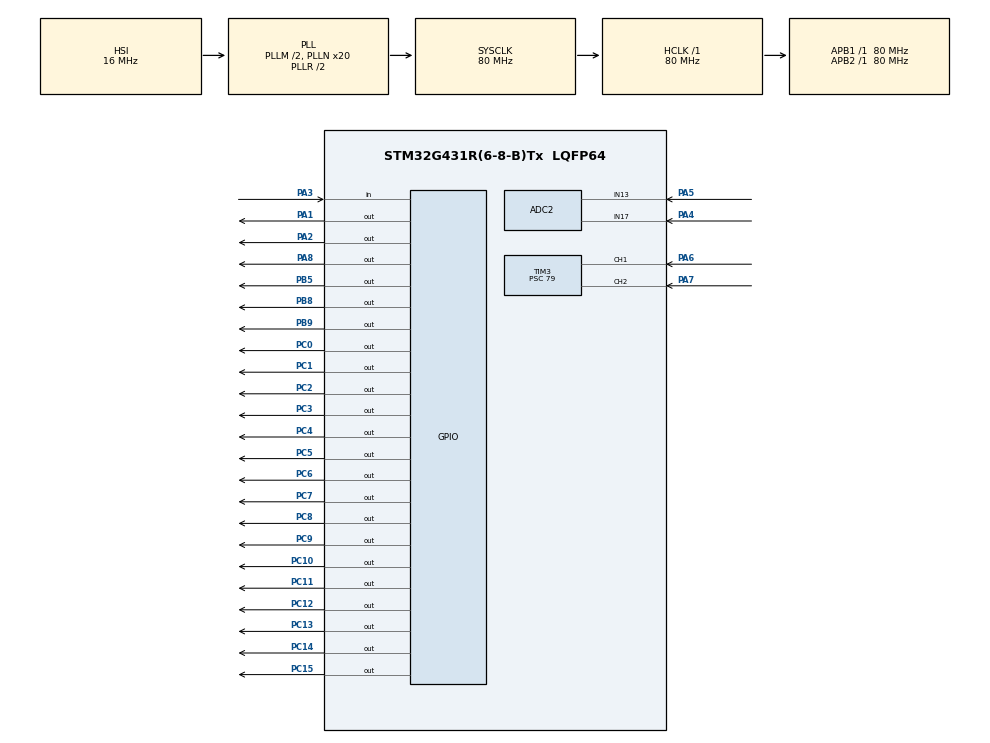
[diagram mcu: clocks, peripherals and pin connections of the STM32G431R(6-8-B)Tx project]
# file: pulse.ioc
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ADC2.Channel-0\#ChannelRegularConversion=ADC_CHANNEL_17
ADC2.Channel-1\#ChannelRegularConversion=ADC_CHANNEL_13
ADC2.NbrOfConversion=2
ADC2.NbrOfConversionFlag=1
ADC2.OffsetNumber-0\#ChannelRegularConversion=ADC_OFFSET_NONE
ADC2.OffsetNumber-1\#ChannelRegularConversion=ADC_OFFSET_NONE
ADC2.Rank-0\#ChannelRegularConversion=1
ADC2.Rank-1\#ChannelRegularConversion=2
ADC2.SamplingTime-0\#ChannelRegularConversion=ADC_SAMPLETIME_640CYCLES_5
ADC2.SamplingTime-1\#ChannelRegularConversion=ADC_SAMPLETIME_640CYCLES_5
Mcu.Family=STM32G4
Mcu.Name=STM32G431R(6-8-B)Tx
Mcu.Package=LQFP64
NVIC.PriorityGroup=NVIC_PRIORITYGROUP_4
NVIC.TIM3_IRQn=true\:0\:0\:false\:false\:true\:true\:true\:true
PA1.Signal=GPIO_Output
PA2.Signal=GPIO_Output
PA3.Signal=GPIO_Input
PA4.Mode=IN17-Single-Ended
PA4.Signal=ADC2_IN17
PA5.Mode=IN13-Single-Ended
PA5.Signal=ADC2_IN13
PA6.Signal=S_TIM3_CH1
PA7.Signal=S_TIM3_CH2
PA8.Signal=GPIO_Output
PB5.Signal=GPIO_Output
PB8-BOOT0.Signal=GPIO_Output
PB9.Signal=GPIO_Output
PC0.Signal=GPIO_Output
PC1.Signal=GPIO_Output
PC10.Signal=GPIO_Output
PC11.Signal=GPIO_Output
PC12.Signal=GPIO_Output
PC13.Signal=GPIO_Output
PC14-OSC32_IN.Signal=GPIO_Output
PC15-OSC32_OUT.Signal=GPIO_Output
PC2.Signal=GPIO_Output
PC3.Signal=GPIO_Output
PC4.Signal=GPIO_Output
PC5.Signal=GPIO_Output
PC6.Signal=GPIO_Output
PC7.Signal=GPIO_Output
PC8.Signal=GPIO_Output
PC9.Signal=GPIO_Output
PF0-OSC_IN.Mode=HSE-External-Oscillator
PF0-OSC_IN.Signal=RCC_OSC_IN
PF1-OSC_OUT.Mode=HSE-External-Oscillator
PF1-OSC_OUT.Signal=RCC_OSC_OUT
ProjectManager.HeapSize=0x200
ProjectManager.StackSize=0x400
ProjectManager.TargetToolchain=MDK-ARM V5
RCC.ADC12Freq_Value=80000000
RCC.AHBFreq_Value=80000000
RCC.APB1Freq_Value=80000000
RCC.APB1TimFreq_Value=80000000
RCC.APB2Freq_Value=80000000
RCC.APB2TimFreq_Value=80000000
RCC.CortexFreq_Value=80000000
RCC.EXTERNAL_CLOCK_VALUE=12288000
RCC.HCLKFreq_Value=80000000
RCC.HSE_VALUE=24000000
RCC.HSI48_VALUE=48000000
RCC.HSI_VALUE=16000000
RCC.LSE_VALUE=32768
RCC.PLLM=RCC_PLLM_DIV2
RCC.PLLN=20
RCC.SYSCLKFreq_VALUE=80000000
RCC.SYSCLKSource=RCC_SYSCLKSOURCE_PLLCLK
RCC.USBFreq_Value=80000000
RCC.VCOOutputFreq_Value=160000000
SH.S_TIM3_CH1.0=TIM3_CH1,Input_Capture1_from_TI1
SH.S_TIM3_CH2.0=TIM3_CH2,Input_Capture2_from_TI2
TIM3.Channel-Input_Capture1_from_TI1=TIM_CHANNEL_1
TIM3.Channel-Input_Capture2_from_TI2=TIM_CHANNEL_2
TIM3.PeriodNoDither=0xffff
TIM3.Prescaler=79
VP_SYS_VS_DBSignals.Mode=DisableDeadBatterySignals
board=custom

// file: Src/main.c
/* USER CODE BEGIN Header */
/**
  ******************************************************************************
  * @file           : main.c
  * @brief          : Main program body
  ******************************************************************************
  * @attention
  *
  * <h2><center>&copy; Copyright (c) 2021 STMicroelectronics.
  * All rights reserved.</center></h2>
  *
  * This software component is licensed by ST under BSD 3-Clause license,
  * the "License"; You may not use this file except in compliance with the
  * License. You may obtain a copy of the License at:
  *                        opensource.org/licenses/BSD-3-Clause
  *
  ******************************************************************************
  */
/* USER CODE END Header */

#include "main.h"
#include "adc.h"
#include "tim.h"
#include "gpio.h"

/* USER CODE BEGIN Includes */

#include "seg.h"
#include "stdio.h"
#include "ds18b20_hal.h"
#include "dht11_hal.h"
/* USER CODE END Includes */

void SystemClock_Config(void);

/* USER CODE BEGIN 0 */

//ADC2

u32 adc_val1,adc_val2;
double rp5_v,rp6_v;

//问题
//双通道adc时,需要注意两个扫描周期之间的间隔
//当下面有LCD程序等其他程序时，可以忽略延时
void ADC2_Process(void)
{

	HAL_ADC_Start(&hadc2);
	adc_val1 = HAL_ADC_GetValue(&hadc2);
	rp5_v = adc_val1 * 3.3/ 4095;

	HAL_ADC_Start(&hadc2);
	adc_val2 = HAL_ADC_GetValue(&hadc2);
	rp6_v = adc_val2 * 3.3 / 4095;

	//HAL_Delay(5);//扫描周期间隔
}

//ADC KEY
u8 AKEY_Read_IO(void)
{
	u8 key_val = 0x00;

	if(adc_val2 < 200)
		key_val |= 0x01;
	else if(adc_val2 < 800)
		key_val |= 0x02;
	else if(adc_val2 < 1400)
		key_val |= 0x04;
	else if(adc_val2 < 2000)
		key_val |= 0x08;
	else if(adc_val2 < 2600)
		key_val |= 0x10;
	else if(adc_val2 < 3200)
		key_val |= 0x20;
	else if(adc_val2 < 3800)
		key_val |= 0x40;
	else if(adc_val2 < 3950)
		key_val |= 0x80;

	return key_val;

}

u8 AKEY_Trg;
u8 AKEY_Cont;
u8 AKEY_Up;
void AKEY_Read(void)
{
	u8 ReadData = AKEY_Read_IO();
	AKEY_Trg = ReadData & (ReadData ^ AKEY_Cont);
	AKEY_Up = ~ReadData & (ReadData ^ AKEY_Cont);
	AKEY_Cont = ReadData;
}

uint32_t akeyTick = 0;
void AKEY_Process(void)
{
	if(uwTick - akeyTick < 20) return;
	akeyTick = uwTick;

	AKEY_Read();
}

//SEG
uint32_t segTick = 0;
int rp5_v_int;
u8 num = 123;
void SEG_Process(void)
{
	if(uwTick - segTick < 100) return;
	segTick = uwTick;

	rp5_v_int = rp5_v*100;

//	seg_buf[0] = seg_code[rp5_v_int/100]|0x80;
//	seg_buf[1] = seg_code[rp5_v_int/10%10];
//	seg_buf[2] = seg_code[rp5_v_int%10];

  seg_buf[0] = t_display[(int)(num*100)/100] | 0x80;
	seg_buf[1] = t_display[(int)(num*100)/10%10];
	seg_buf[2] = t_display[(int)(num*100)%10];

	Seg_Display();
}

/////////////////////////PWM1,2
//T3_CH1
uint32_t uwIC2Value1_T3CH1 = 0;
uint32_t uwIC2Value2_T3CH1 = 0;
//uint32_t uwDiffCapture_T3CH1 = 0;
double uwhigh_T3CH1 = 0,uwlow_T3CH1 = 0;

/* Capture index */
uint16_t uhCaptureIndex_T3CH1 = 0;

/* Frequency Value */
uint32_t uwFrequency_T3CH1 = 0;
double D_T3CH1 = 0;

//T3_CH2
uint32_t uwIC2Value1_T3CH2 = 0;
uint32_t uwIC2Value2_T3CH2 = 0;
//uint32_t uwDiffCapture_T3CH1 = 0;
double uwhigh_T3CH2 = 0,uwlow_T3CH2 = 0;

/* Capture index */
uint16_t uhCaptureIndex_T3CH2 = 0;

/* Frequency Value */
uint32_t uwFrequency_T3CH2 = 0;
double D_T3CH2 = 0;

void HAL_TIM_IC_CaptureCallback(TIM_HandleTypeDef *htim)
{

	if(htim == &htim3)
	{
		if (htim->Channel == HAL_TIM_ACTIVE_CHANNEL_1)
		{
			if(uhCaptureIndex_T3CH1 == 0)
			{
				/* Get the 1st Input Capture value */
				uwIC2Value1_T3CH1 = HAL_TIM_ReadCapturedValue(htim, TIM_CHANNEL_1);
				__HAL_TIM_SET_CAPTUREPOLARITY(&htim3,TIM_CHANNEL_1,TIM_INPUTCHANNELPOLARITY_FALLING);
				uhCaptureIndex_T3CH1 = 1;
			}
			else if(uhCaptureIndex_T3CH1 == 1)
			{
				/* Get the 2nd Input Capture value */
				uwIC2Value2_T3CH1 = HAL_TIM_ReadCapturedValue(htim, TIM_CHANNEL_1);
				__HAL_TIM_SET_CAPTUREPOLARITY(&htim3,TIM_CHANNEL_1,TIM_INPUTCHANNELPOLARITY_RISING);

				/* Capture computation */
				if (uwIC2Value2_T3CH1 > uwIC2Value1_T3CH1)
				{
					uwhigh_T3CH1 = (uwIC2Value2_T3CH1 - uwIC2Value1_T3CH1);
				}
				else if (uwIC2Value2_T3CH1 < uwIC2Value1_T3CH1)
				{
					/* 0xFFFF is max TIM1_CCRx value */
					uwhigh_T3CH1 = ((0xFFFFFFFF - uwIC2Value1_T3CH1) + uwIC2Value2_T3CH1) + 1;
				}
				else
				{
					/* If capture values are equal, we have reached the limit of frequency
						 measures */
					Error_Handler();
				}

				/* Frequency computation: for this example TIMx (TIM1) is clocked by
					 APB2Clk */
				uhCaptureIndex_T3CH1 = 2;
				uwIC2Value1_T3CH1 = uwIC2Value2_T3CH1;

			}
			else if(uhCaptureIndex_T3CH1 == 2)
			{
				/* Get the 2nd Input Capture value */
				uwIC2Value2_T3CH1 = HAL_TIM_ReadCapturedValue(htim, TIM_CHANNEL_1);

				/* Capture computation */
				if (uwIC2Value2_T3CH1 > uwIC2Value1_T3CH1)
				{
					uwlow_T3CH1 = (uwIC2Value2_T3CH1 - uwIC2Value1_T3CH1);
				}
				else if (uwIC2Value2_T3CH1 < uwIC2Value1_T3CH1)
				{
					/* 0xFFFF is max TIM1_CCRx value */
					uwlow_T3CH1 = ((0xFFFF - uwIC2Value1_T3CH1) + uwIC2Value2_T3CH1) + 1;
				}
				else
				{
					/* If capture values are equal, we have reached the limit of frequency
						 measures */
					Error_Handler();
				}

				/* Frequency computation: for this example TIMx (TIM1) is clocked by
					 APB2Clk */
				uhCaptureIndex_T3CH1 = 0;
				D_T3CH1 = uwhigh_T3CH1 / (uwhigh_T3CH1 + uwlow_T3CH1);
				uwFrequency_T3CH1 = 1e6/(uwhigh_T3CH1 + uwlow_T3CH1);
			}
		}

		if (htim->Channel == HAL_TIM_ACTIVE_CHANNEL_2)
		{
			if(uhCaptureIndex_T3CH2 == 0)
			{
				/* Get the 1st Input Capture value */
				uwIC2Value1_T3CH2 = HAL_TIM_ReadCapturedValue(htim, TIM_CHANNEL_2);
				__HAL_TIM_SET_CAPTUREPOLARITY(&htim3,TIM_CHANNEL_2,TIM_INPUTCHANNELPOLARITY_FALLING);
				uhCaptureIndex_T3CH2 = 1;
			}
			else if(uhCaptureIndex_T3CH2 == 1)
			{
				/* Get the 2nd Input Capture value */
				uwIC2Value2_T3CH2 = HAL_TIM_ReadCapturedValue(htim, TIM_CHANNEL_2);
				__HAL_TIM_SET_CAPTUREPOLARITY(&htim3,TIM_CHANNEL_2,TIM_INPUTCHANNELPOLARITY_RISING);

				/* Capture computation */
				if (uwIC2Value2_T3CH2 > uwIC2Value1_T3CH2)
				{
					uwhigh_T3CH2 = (uwIC2Value2_T3CH2 - uwIC2Value1_T3CH2);
				}
				else if (uwIC2Value2_T3CH2 < uwIC2Value1_T3CH2)
				{
					/* 0xFFFF is max TIM1_CCRx value */
					uwhigh_T3CH2 = ((0xFFFF - uwIC2Value1_T3CH2) + uwIC2Value2_T3CH2) + 1;
				}
				else
				{
					/* If capture values are equal, we have reached the limit of frequency
						 measures */
					Error_Handler();
				}

				/* Frequency computation: for this example TIMx (TIM1) is clocked by
					 APB2Clk */
				uhCaptureIndex_T3CH2 = 2;
				uwIC2Value1_T3CH2 = uwIC2Value2_T3CH2;

			}
			else if(uhCaptureIndex_T3CH2 == 2)
			{
				/* Get the 2nd Input Capture value */
				uwIC2Value2_T3CH2 = HAL_TIM_ReadCapturedValue(htim, TIM_CHANNEL_2);

				/* Capture computation */
				if (uwIC2Value2_T3CH2 > uwIC2Value1_T3CH2)
				{
					uwlow_T3CH2 = (uwIC2Value2_T3CH2 - uwIC2Value1_T3CH2);
				}
				else if (uwIC2Value2_T3CH2 < uwIC2Value1_T3CH2)
				{
					/* 0xFFFF is max TIM1_CCRx value */
					uwlow_T3CH2 = ((0xFFFFFFFF - uwIC2Value1_T3CH2) + uwIC2Value2_T3CH2) + 1;
				}
				else
				{
					/* If capture values are equal, we have reached the limit of frequency
						 measures */
					Error_Handler();
				}

				/* Frequency computation: for this example TIMx (TIM1) is clocked by
					 APB2Clk */
				uhCaptureIndex_T3CH2 = 0;
				D_T3CH2 = uwhigh_T3CH2 / (uwhigh_T3CH2 + uwlow_T3CH2);
				uwFrequency_T3CH2 = 1e6/(uwhigh_T3CH2 + uwlow_T3CH2);
			}
		}

	}

}

//DS18B20
uint32_t tempTick = 0;
double temp;
void DS18B20_Process(void)
{
	if(uwTick - tempTick < 500) return;
	tempTick = uwTick;

	temp = DS18B20_Read();

}

//LCD
uint32_t lcdTick = 0;
double DH,DT;
void LCD_Process(void)
{
	if(uwTick - lcdTick < 100) return;
	lcdTick = uwTick;
	DHT11_Read();

	u8 display_buf[30];
	sprintf((char*)display_buf,"Trg:%02x,Up:%02x,Ct:%02x",AKEY_Trg,AKEY_Up,AKEY_Cont);
	LCD_DisplayStringLine(Line0,display_buf);

	sprintf((char*)display_buf,"ADC_Val:%-5d",adc_val2);
	LCD_DisplayStringLine(Line1,display_buf);

	sprintf((char*)display_buf,"Temp:%7.4f     ",temp); //全精度
	LCD_DisplayStringLine(Line2,display_buf);

	//将温湿度合成为一个数
	DH = dht11.humidity_high + dht11.humidity_low /10.0;
	DT = dht11.temperature_high + dht11.temperature_low/10.0;
	sprintf((char*)display_buf,"H:%d.%d%% T:%d.%d",dht11.humidity_high,dht11.humidity_low,dht11.temperature_high,dht11.temperature_low); //全精度
	LCD_DisplayStringLine(Line3,display_buf);
}

/* USER CODE END 0 */

int main(void)
{

  /* MCU Configuration--------------------------------------------------------*/

  /* Reset of all peripherals, Initializes the Flash interface and the Systick. */
  HAL_Init();

  /* Configure the system clock */
  SystemClock_Config();

  /* Initialize all configured peripherals */
  MX_GPIO_Init();
  MX_TIM3_Init();
  MX_ADC2_Init();
  /* USER CODE BEGIN 2 */

  LCD_Init();

//TIM
//		HAL_TIM_IC_Start_IT(&htim2,TIM_CHANNEL_2);
//
//		HAL_TIM_IC_Start_IT(&htim2,TIM_CHANNEL_3);
//
//		HAL_TIM_IC_Start_IT(&htim3,TIM_CHANNEL_1);
//		HAL_TIM_IC_Start_IT(&htim3,TIM_CHANNEL_2);

//ADC_KEY
		ADC2_Process();//解决ADC按键上电触发一次问题：使用ADC按键必须先测一次！！！

	//DS18B20
		ds18b20_init_x();
		while(DS18B20_Read() >= 85){};

	//DHT11
		dht11Init();
  /* USER CODE END 2 */

  /* Infinite loop */
  /* USER CODE BEGIN WHILE */

    LCD_Clear(Black);
    LCD_SetBackColor(Black);
    LCD_SetTextColor(White);

//    LCD_DrawLine(120, 0, 320, Horizontal);
//    LCD_DrawLine(0, 160, 240, Vertical);
//    HAL_Delay(1000);
//    LCD_Clear(Blue);

//    LCD_DrawRect(70, 210, 100, 100);
//    HAL_Delay(1000);
//    LCD_Clear(Blue);

//    LCD_DrawCircle(120, 160, 50);
//    HAL_Delay(1000);

//    LCD_Clear(Blue);
//    LCD_DisplayStringLine(Line4, (unsigned char *)"    Hello,world.   ");
//    HAL_Delay(1000);

//    LCD_SetBackColor(White);
//    LCD_DisplayStringLine(Line0, (unsigned char *)"                    ");
//    LCD_SetBackColor(Black);
//    LCD_DisplayStringLine(Line1, (unsigned char *)"                    ");
//    LCD_SetBackColor(Grey);
//    LCD_DisplayStringLine(Line2, (unsigned char *)"                    ");
//    LCD_SetBackColor(Blue);
//    LCD_DisplayStringLine(Line3, (unsigned char *)"                    ");
//    LCD_SetBackColor(Blue2);
//    LCD_DisplayStringLine(Line4, (unsigned char *)"                    ");
//    LCD_SetBackColor(Red);
//    LCD_DisplayStringLine(Line5, (unsigned char *)"                    ");
//    LCD_SetBackColor(Magenta);
//    LCD_DisplayStringLine(Line6, (unsigned char *)"                    ");
//    LCD_SetBackColor(Green);
//    LCD_DisplayStringLine(Line7, (unsigned char *)"                    ");
//    LCD_SetBackColor(Cyan);
//    LCD_DisplayStringLine(Line8, (unsigned char *)"                    ");
//    LCD_SetBackColor(Yellow);
//    LCD_DisplayStringLine(Line9, (unsigned char *)"                    ");

    while (1)
    {
    /* USER CODE END WHILE */

    /* USER CODE BEGIN 3 */

		SEG_Process();
		ADC2_Process();
		LCD_Process();
		AKEY_Process();
	  DS18B20_Process();

    }
  /* USER CODE END 3 */
}

void SystemClock_Config(void)
{
  RCC_OscInitTypeDef RCC_OscInitStruct = {0};
  RCC_ClkInitTypeDef RCC_ClkInitStruct = {0};
  RCC_PeriphCLKInitTypeDef PeriphClkInit = {0};

  /** Configure the main internal regulator output voltage
  */
  HAL_PWREx_ControlVoltageScaling(PWR_REGULATOR_VOLTAGE_SCALE1);
  /** Initializes the CPU, AHB and APB busses clocks
  */
  RCC_OscInitStruct.OscillatorType = RCC_OSCILLATORTYPE_HSI;
  RCC_OscInitStruct.HSIState = RCC_HSI_ON;
  RCC_OscInitStruct.HSICalibrationValue = RCC_HSICALIBRATION_DEFAULT;
  RCC_OscInitStruct.PLL.PLLState = RCC_PLL_ON;
  RCC_OscInitStruct.PLL.PLLSource = RCC_PLLSOURCE_HSI;
  RCC_OscInitStruct.PLL.PLLM = RCC_PLLM_DIV2;
  RCC_OscInitStruct.PLL.PLLN = 20;
  RCC_OscInitStruct.PLL.PLLP = RCC_PLLP_DIV2;
  RCC_OscInitStruct.PLL.PLLQ = RCC_PLLQ_DIV2;
  RCC_OscInitStruct.PLL.PLLR = RCC_PLLR_DIV2;
  if (HAL_RCC_OscConfig(&RCC_OscInitStruct) != HAL_OK)
  {
    Error_Handler();
  }
  /** Initializes the CPU, AHB and APB busses clocks
  */
  RCC_ClkInitStruct.ClockType = RCC_CLOCKTYPE_HCLK|RCC_CLOCKTYPE_SYSCLK
                              |RCC_CLOCKTYPE_PCLK1|RCC_CLOCKTYPE_PCLK2;
  RCC_ClkInitStruct.SYSCLKSource = RCC_SYSCLKSOURCE_PLLCLK;
  RCC_ClkInitStruct.AHBCLKDivider = RCC_SYSCLK_DIV1;
  RCC_ClkInitStruct.APB1CLKDivider = RCC_HCLK_DIV1;
  RCC_ClkInitStruct.APB2CLKDivider = RCC_HCLK_DIV1;

  if (HAL_RCC_ClockConfig(&RCC_ClkInitStruct, FLASH_LATENCY_3) != HAL_OK)
  {
    Error_Handler();
  }
  /** Initializes the peripherals clocks
  */
  PeriphClkInit.PeriphClockSelection = RCC_PERIPHCLK_ADC12;
  PeriphClkInit.Adc12ClockSelection = RCC_ADC12CLKSOURCE_SYSCLK;
  if (HAL_RCCEx_PeriphCLKConfig(&PeriphClkInit) != HAL_OK)
  {
    Error_Handler();
  }
}

void Error_Handler(void)
{
}

/************************ (C) COPYRIGHT STMicroelectronics *****END OF FILE****/
